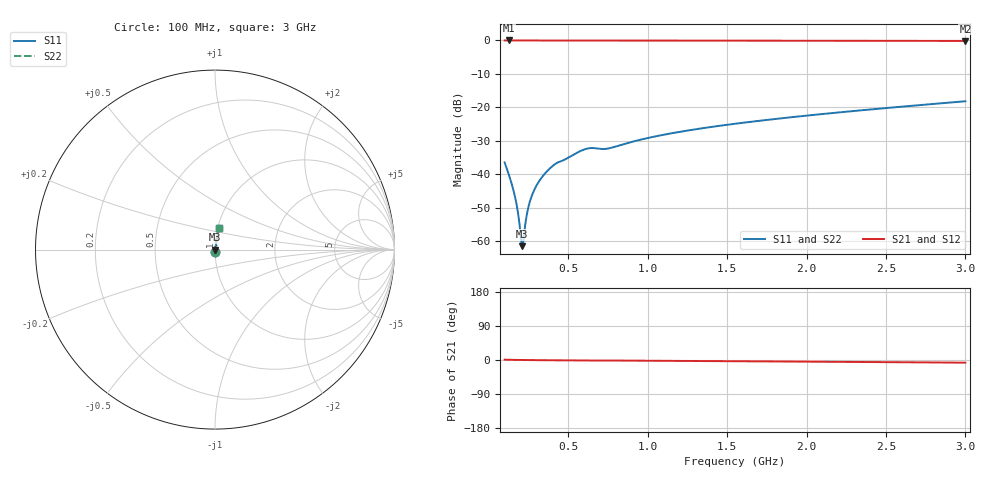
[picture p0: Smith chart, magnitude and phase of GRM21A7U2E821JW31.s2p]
!Murata Part Number: GRM21A7U2E821JW31
!These Parameters are Measured in Series Mode Connection
!Data Generated on Mar 30, 2021
!  o--ll--o
!Port1  Port2
!  o------o
!Operation Temp=25[degC], DC Bias Voltage=0[V]
!Freq. Start=100[MHz] Stop=3[GHz] 401[Steps]
# Hz S RI R 50
!Freq.(Hz) S11(Real) S11(Imag) S21(Real) S21(Imag) S12(Real) S12(Imag) S22(Real) S22(Imag)
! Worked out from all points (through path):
!   401 points, 100 MHz to 3 GHz, reference 50 ohm
!   highest |S21| = -0.01 dB at 129 MHz (marker M1); lowest = -0.1 dB at 3 GHz (marker M2)
!   group delay of S21, straight-line fit = 6.72 ps
!   lowest |S11| = -61.5 dB at 208.8 MHz (marker M3), VSWR 1.00, Z = 50.1 - j0.0242 ohm
!   |S11| at or under -10 dB: start of sweep to end of sweep
!   |S22| runs from -61.5 to -18.2 dB; largest |S21 - S12| = 0
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1e8  0.00082 -0.0151  0.9992 0.0151  0.9992 0.0151  0.00082 -0.0151
1.29e8  0.000724 -0.00946  0.9993 0.00946  0.9993 0.00946  0.000724 -0.00946
1.6525e8  0.000723 -0.00459  0.9993 0.00459  0.9993 0.00459  0.000723 -0.00459
1.7975e8  0.000744 -0.00301  0.9993 0.00301  0.9993 0.00301  0.000744 -0.00301
2.015e8  0.00079 -0.000894  0.9992 0.000894  0.9992 0.000894  0.00079 -0.000894
2.0875e8  0.000809 -0.000242  0.9992 0.000242  0.9992 0.000242  0.000809 -0.000242
2.16e8  0.00083 0.000388  0.9992 -0.000388  0.9992 -0.000388  0.00083 0.000388
2.2325e8  0.000852 0.000999  0.9991 -0.000999  0.9991 -0.000999  0.000852 0.000999
2.45e8  0.000929 0.00273  0.9991 -0.00273  0.9991 -0.00273  0.000929 0.00273
2.6675e8  0.00102 0.00434  0.999 -0.00434  0.999 -0.00434  0.00102 0.00434
2.9575e8  0.00117 0.00636  0.9988 -0.00636  0.9988 -0.00636  0.00117 0.00636
3.2475e8  0.00136 0.00828  0.9986 -0.00828  0.9986 -0.00828  0.00136 0.00828
3.6825e8  0.00177 0.011  0.9982 -0.011  0.9982 -0.011  0.00177 0.011
4.19e8  0.00275 0.014  0.9972 -0.014  0.9972 -0.014  0.00275 0.014
5.8575e8  0.00541 0.0221  0.9946 -0.0221  0.9946 -0.0221  0.00541 0.0221
6.365e8  0.00775 0.0234  0.9923 -0.0234  0.9923 -0.0234  0.00775 0.0234
7.525e8  0.0067 0.0234  0.9933 -0.0234  0.9933 -0.0234  0.0067 0.0234
1.0715e9  0.00578 0.0373  0.9942 -0.0373  0.9942 -0.0373  0.00578 0.0373
1.55e9  0.00887 0.0562  0.9911 -0.0562  0.9911 -0.0562  0.00887 0.0562
2.03575e9  0.0127 0.0758  0.9873 -0.0758  0.9873 -0.0758  0.0127 0.0758
2.5215e9  0.0175 0.0971  0.9825 -0.0971  0.9825 -0.0971  0.0175 0.0971
3e9  0.024 0.121  0.976 -0.121  0.976 -0.121  0.024 0.121
